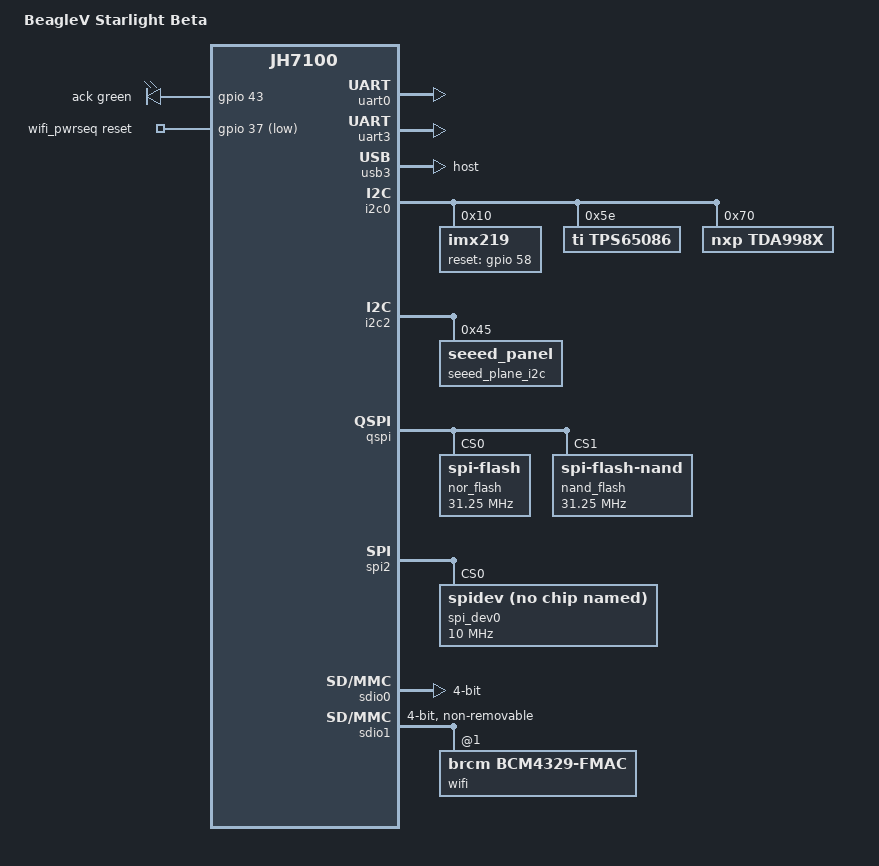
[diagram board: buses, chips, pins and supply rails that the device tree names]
/dts-v1/;
#include "jh7100.dtsi"
#include <dt-bindings/starfive_fb.h>
#include <dt-bindings/gpio/gpio.h>
#include <dt-bindings/leds/common.h>

/ {
	#address-cells = <2>;
	#size-cells = <2>;
	compatible = "beagle,beaglev-starlight-jh7100";
	model = "BeagleV Starlight Beta";

	aliases {
		mshc0 = &sdio0;
		mshc1 = &sdio1;
		serial0 = &uart3;
		serial1 = &uart0;
	};

	chosen {
		stdout-path = "serial0:115200";
	};

	cpus {
		timebase-frequency = <6250000>;
	};

	leds {
		compatible = "gpio-leds";

		led-ack {
			gpios = <&gpio 43 GPIO_ACTIVE_HIGH>;
			color = <LED_COLOR_ID_GREEN>;
			function = LED_FUNCTION_HEARTBEAT;
			linux,default-trigger = "heartbeat";
			label = "ack";
		};
	};

	wifi_pwrseq: wifi-pwrseq {
		compatible = "mmc-pwrseq-simple";
		reset-gpios = <&gpio 37 GPIO_ACTIVE_LOW>;
	};
};

&uart0 {
	status = "okay";
};

&uart3 {
	status = "okay";
};

&usb3 {
	dr_mode = "host";
	status = "okay";
};

&i2c0 {
	imx219@10 {
		compatible = "imx219";
		reg = <0x10>;
		reset-gpio = <&gpio 58 0>;
	};

	tps65086@5e {
		compatible = "ti,tps65086";
		reg = <0x5e>;
		/*
		interrupt-parent = <&gpio1>;
		interrupts = <28 IRQ_TYPE_LEVEL_LOW>;
		interrupt-controller;
		#interrupt-cells = <2>;
		*/
		gpio-controller;
		#gpio-cells = <2>;
	};

	tda998x@70 {
		compatible = "nxp,tda998x";
		reg = <0x70>;
	};
};

&i2c2 {
	seeed_plane_i2c@45 {
		compatible = "seeed_panel";
		reg = <0x45>;
	};
};

&qspi {
	nor_flash: nor-flash@0 {
		compatible = "spi-flash";
		reg = <0>;
		spi-max-frequency = <31250000>;
		page-size = <256>;
		block-size = <16>;
		cdns,read-delay = <4>;
		cdns,tshsl-ns = <1>;
		cdns,tsd2d-ns = <1>;
		cdns,tchsh-ns = <1>;
		cdns,tslch-ns = <1>;
		spi-tx-bus-width = <1>;
		spi-rx-bus-width = <1>;
	};

	nand_flash: nand-flash@1 {
		compatible = "spi-flash-nand";
		reg = <1>;
		spi-max-frequency = <31250000>;
		page-size = <2048>;
		block-size = <17>;
		cdns,read-delay = <4>;
		cdns,tshsl-ns = <1>;
		cdns,tsd2d-ns = <1>;
		cdns,tchsh-ns = <1>;
		cdns,tslch-ns = <1>;
		spi-tx-bus-width = <1>;
		spi-rx-bus-width = <1>;
	};
};

&spi2 {
	status = "okay";

	spi_dev0: spi@0 {
		compatible = "rohm,dh2228fv";
		spi-max-frequency = <10000000>;
		reg = <0>;
	};
};

&sdio0 {
	broken-cd;
	bus-width = <4>;
	cap-sd-highspeed;
	status = "okay";
};

&sdio1 {
	#address-cells = <1>;
	#size-cells = <0>;
	bus-width = <4>;
	cap-sd-highspeed;
	cap-sdio-irq;
	cap-power-off-card;
	mmc-pwrseq = <&wifi_pwrseq>;
	non-removable;
	status = "okay";

	wifi@1 {
		compatible = "brcm,bcm4329-fmac";
		reg = <1>;
	};
};

&sfivefb {
	/*
	pp1 {
		pp-id = <1>;
		fifo-out;
		src-format = <COLOR_YUV420_NV21>;
		src-width = <800>;
		src-height = <480>;
		dst-format = <COLOR_RGB888_ARGB>;
		dst-width = <800>;
		dst-height = <480>;
	};
	*/

	tda_998x_1080p {
		compatible = "starfive,display-dev";
		panel_name = "tda_998x_1080p";
		panel_lcd_id = <22>;  /* 1080p */
		interface_info = "rgb_interface";
		refresh_en = <1>;
		bits-per-pixel = <16>;
		physical-width = <62>;
		physical-height = <114>;
		panel-width = <1920>;
		panel-height = <1080>;
		pixel-clock = <78000000>;
		/*dyn_fps;*/		/*dynamic frame rate support*/

		/*.flags = PREFER_CMD_SEND_MONOLITHIC | CE_CMD_SEND_MONOLITHIC | RESUME_WITH_PREFER | RESUME_WITH_CE*/
		/*gamma-command-monolithic;*/
		/*ce-command-monolithic;*/
		/*resume-with-gamma;*/
		/*resume-with-ce;*/

		/*mipi info*/
		mipi-byte-clock = <78000>;
		mipi-escape-clock = <13000>;
		lane-no = <4>;
		display_mode = "video_mode";		/*video_mode, command_mode*/

		/*
		auto_stop_clklane_en;
		im_pin_val;*/

		color_bits = <COLOR_CODE_24BIT>;
		/*is_18bit_loosely;*/

		/*video mode info*/
		h-pulse-width = <44>;
		h-back-porch = <148>;
		h-front-porch = <88>;
		v-pulse-width = <5>;
		v-back-porch = <36>;
		v-front-porch = <4>;
		status = "okay";
		sync_pol = "vsync_high_act";		/*vsync_high_act, hsync_high_act*/
		lp_cmd_en;
		/*lp_hfp_en;*/
		/*lp_hbp_en;*/
		/*lp_vact_en;*/
		lp_vfp_en;
		lp_vbp_en;
		lp_vsa_en;
		traffic-mode = "burst_with_sync_pulses";	/*non_burst_with_sync_pulses, non_burst_with_sync_events*/

		/*phy info*/
		data_tprepare = /bits/ 8 <0>;
		data_hs_zero = /bits/ 8 <0>;
		data_hs_exit = /bits/ 8 <0>;
		data_hs_trail = /bits/ 8 <0>;

		/*te info*/
		te_source = "external_pin";			/*external_pin, dsi_te_trigger*/
		te_trigger_mode = "rising_edge";		/*rising_edge, high_1000us*/
		te_enable = <0>;
		cm_te_effect_sync_enable = <0>;			/*used in command mode*/
		te_count_per_sec = <64>;				/*used in esd*/

		/*ext info*/
		/*
		crc_rx_en;
		ecc_rx_en;
		eotp_rx_en;
		*/
		eotp_tx_en;

		dev_read_time = <0x7fff>;
		/*type cmd return_count return_code*/
		/*id_read_cmd_info = [];*/
		/*pre_id_cmd = [];*/
		/*esd_read_cmd_info = [DCS_CMD 0A 01 9C];*/
		/*pre_esd_cmd = [];*/
		/*panel-on-command = [];*/
		/*panel-off-command = [];*/
		/*reset-sequence = <1 5>, <0 10>, <1 30>;*/
		/*
		panel-gamma-warm-command = [

		];
		panel-gamma-nature-command = [

		];
		panel-gamma-cool-command = [

		];

		panel-ce-std-command = [

		];
		panel-ce-vivid-command = [

		];
		*/
	};

	seeed_5_inch {
		compatible = "starfive,display-dev";
		panel_name = "seeed_5_inch";
		panel_lcd_id = <22>;  /* 480p */
		interface_info = "mipi_interface";
		refresh_en = <1>;
		bits-per-pixel = <24>;
		physical-width = <62>;
		physical-height = <114>;
		panel-width = <800>;
		panel-height = <480>;
		pixel-clock = <27500000>;
		/*dyn_fps;*/		/*dynamic frame rate support*/
		fps = <50>;
		/*.flags = PREFER_CMD_SEND_MONOLITHIC | CE_CMD_SEND_MONOLITHIC | RESUME_WITH_PREFER | RESUME_WITH_CE*/
		/*gamma-command-monolithic;*/
		/*ce-command-monolithic;*/
		/*resume-with-gamma;*/
		/*resume-with-ce;*/

		/*mipi info*/
		mipi-byte-clock = <78000>;
		mipi-escape-clock = <13000>;
		lane-no = <1>;
		display_mode = "video_mode";		/*video_mode, command_mode*/

		/*
		auto_stop_clklane_en;
		im_pin_val;
		*/

		color_bits = <COLOR_CODE_24BIT>;
		/*is_18bit_loosely;*/

		/*video mode info*/
		h-pulse-width = <10>;
		h-back-porch = <20>;
		h-front-porch = <50>;
		v-pulse-width = <5>;
		v-back-porch = <5>;
		v-front-porch = <135>;

		/*seeed panel mode info*/
		dphy_bps   = <700000000>;
		dsi_burst_mode = <0>;
		dsi_sync_pulse = <1>;
		// bytes
		dsi_hsa   = <30>;
		dsi_hbp   = <211>;
		dsi_hfp   = <159>;
		// lines
		dsi_vsa   = <5>;
		dsi_vbp   = <5>;
		dsi_vfp   = <134>;

		status = "okay";
		sync_pol = "vsync_high_act";		/*vsync_high_act, hsync_high_act*/
		lp_cmd_en;
		/*lp_hfp_en;*/
		/*lp_hbp_en;*/
		/*lp_vact_en;*/
		lp_vfp_en;
		lp_vbp_en;
		lp_vsa_en;
		traffic-mode = "burst_with_sync_pulses";	/*non_burst_with_sync_pulses, non_burst_with_sync_events*/

		/*phy info*/
		data_tprepare = /bits/ 8 <0>;
		data_hs_zero = /bits/ 8 <0>;
		data_hs_exit = /bits/ 8 <0>;
		data_hs_trail = /bits/ 8 <0>;

		/*te info*/
		te_source = "external_pin";			/*external_pin, dsi_te_trigger*/
		te_trigger_mode = "rising_edge";		/*rising_edge, high_1000us*/
		te_enable = <0>;
		cm_te_effect_sync_enable = <0>;			/*used in command mode*/
		te_count_per_sec = <64>;				/*used in esd*/

		/*ext info*/
		/*
		crc_rx_en;
		ecc_rx_en;
		eotp_rx_en;
		*/
		eotp_tx_en;

		dev_read_time = <0x7fff>;
		/*type cmd return_count return_code*/
		/*id_read_cmd_info = [];*/
		/*pre_id_cmd = [];*/
		/*esd_read_cmd_info = [DCS_CMD 0A 01 9C];*/
		/*pre_esd_cmd = [];*/
		/*panel-on-command = [];*/
		/*panel-off-command = [];*/
		/*reset-sequence = <1 5>, <0 10>, <1 30>;*/
		/*
		panel-gamma-warm-command = [

		];
		panel-gamma-nature-command = [

		];
		panel-gamma-cool-command = [

		];

		panel-ce-std-command = [

		];
		panel-ce-vivid-command = [

		];
		*/
	};
};
